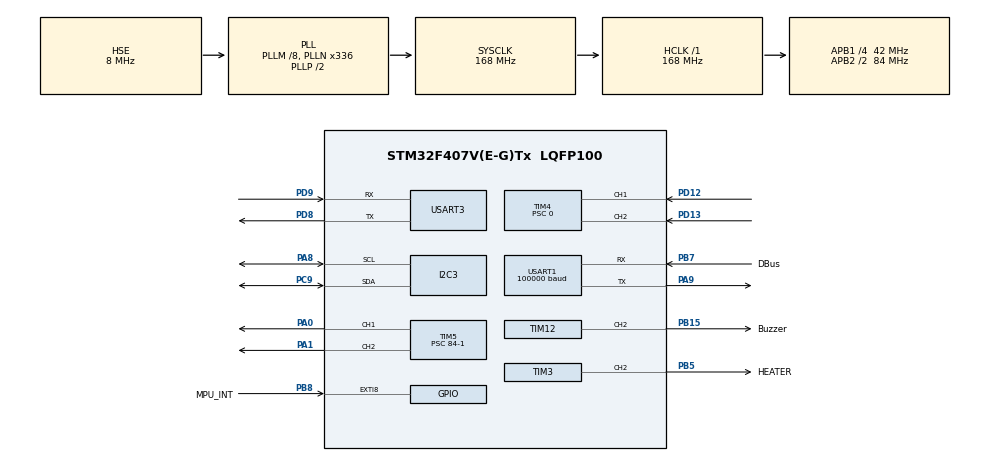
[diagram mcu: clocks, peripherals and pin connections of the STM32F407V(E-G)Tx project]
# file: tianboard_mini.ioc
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Mcu.Family=STM32F4
NVIC.USART3_IRQn=true\:5\:0\:false\:false\:true\:true\:true\:true
VP_TIM5_VS_ClockSourceINT.Mode=Internal
PH0-OSC_IN.Signal=RCC_OSC_IN
VP_SYS_VS_tim6.Mode=TIM6
Dma.USART3_RX.0.PeriphInc=DMA_PINC_DISABLE
RCC.CortexFreq_Value=168000000
NVIC.TIM6_DAC_IRQn=true\:0\:0\:false\:false\:true\:false\:false\:true
USART1.BaudRate=100000
TIM12.Channel-PWM\ Generation2\ CH2=TIM_CHANNEL_2
Dma.USART3_TX.1.MemInc=DMA_MINC_ENABLE
USART1.WordLength=WORDLENGTH_9B
Dma.USART1_RX.2.Instance=DMA2_Stream2
TIM4.EncoderMode=TIM_ENCODERMODE_TI12
Dma.USART3_TX.1.PeriphDataAlignment=DMA_PDATAALIGN_BYTE
SH.S_TIM5_CH2.0=TIM5_CH2,PWM Generation2 CH2
Dma.USART3_TX.1.Instance=DMA1_Stream3
PB15.Signal=S_TIM12_CH2
PD9.Mode=Asynchronous
RCC.SYSCLKSource=RCC_SYSCLKSOURCE_PLLCLK
ProjectManager.StackSize=0x1000
PD13.Signal=S_TIM4_CH2
PB8.GPIO_ModeDefaultEXTI=GPIO_MODE_IT_FALLING
RCC.HCLKFreq_Value=168000000
RCC.APB2TimFreq_Value=168000000
PD8.Signal=USART3_TX
RCC.AHBFreq_Value=168000000
PH0-OSC_IN.Mode=HSE-External-Oscillator
RCC.HSE_VALUE=8000000
Dma.USART3_RX.0.MemDataAlignment=DMA_MDATAALIGN_BYTE
Dma.USART3_TX.1.Mode=DMA_NORMAL
TIM12.Period=50000-1
PA14.Mode=Serial_Wire
Dma.USART3_RX.0.PeriphDataAlignment=DMA_PDATAALIGN_BYTE
PC9.Mode=I2C
SH.S_TIM4_CH2.0=TIM4_CH2,Encoder_Interface
PB7.Signal=USART1_RX
Dma.USART3_RX.0.FIFOMode=DMA_FIFOMODE_DISABLE
PA8.Signal=I2C3_SCL
TIM4.Period=65535
VP_FREERTOS_VS_CMSIS_V1.Mode=CMSIS_V1
FREERTOS.configTOTAL_HEAP_SIZE=65535
Dma.USART3_TX.1.FIFOMode=DMA_FIFOMODE_DISABLE
Dma.USART3_TX.1.Priority=DMA_PRIORITY_LOW
PB7.GPIO_Label=DBus
PH1-OSC_OUT.Mode=HSE-External-Oscillator
Dma.USART3_RX.0.Direction=DMA_PERIPH_TO_MEMORY
Mcu.Package=LQFP100
NVIC.TimeBase=TIM6_DAC_IRQn
PD12.Signal=S_TIM4_CH1
TIM4.IC1Polarity=TIM_ICPOLARITY_FALLING
NVIC.TimeBaseIP=TIM6
Dma.USART3_RX.0.MemInc=DMA_MINC_ENABLE
SH.S_TIM12_CH2.0=TIM12_CH2,PWM Generation2 CH2
RCC.APB2CLKDivider=RCC_HCLK_DIV2
NVIC.DMA2_Stream2_IRQn=true\:5\:0\:false\:false\:true\:true\:false\:true
PB5.GPIO_Label=HEATER
SH.S_TIM4_CH1.0=TIM4_CH1,Encoder_Interface
Dma.Request2=USART1_RX
Dma.Request1=USART3_TX
RCC.APB1TimFreq_Value=84000000
SH.S_TIM5_CH1.0=TIM5_CH1,PWM Generation1 CH1
Dma.USART3_TX.1.PeriphInc=DMA_PINC_DISABLE
NVIC.USART1_IRQn=true\:5\:0\:false\:false\:true\:true\:true\:true
Dma.Request0=USART3_RX
Dma.USART1_RX.2.MemDataAlignment=DMA_MDATAALIGN_BYTE
Dma.USART3_RX.0.Instance=DMA1_Stream1
RCC.PLLSourceVirtual=RCC_PLLSOURCE_HSE
I2C3.I2C_Mode=I2C_Standard
Dma.USART3_TX.1.MemDataAlignment=DMA_MDATAALIGN_BYTE
FREERTOS.Tasks01=defaultTask,0,128,StartDefaultTask,Default,NULL,Dynamic,NULL,NULL
PB8.GPIO_PuPd=GPIO_PULLUP
PD9.Signal=USART3_RX
NVIC.DMA1_Stream1_IRQn=true\:5\:0\:false\:false\:true\:true\:false\:true
RCC.APB1CLKDivider=RCC_HCLK_DIV4
Dma.USART1_RX.2.PeriphInc=DMA_PINC_DISABLE
Dma.USART3_RX.0.Mode=DMA_NORMAL
PA0-WKUP.Signal=S_TIM5_CH1
PA13.Signal=SYS_JTMS-SWDIO
PB8.GPIO_Label=MPU_INT
PA9.Mode=Asynchronous
ProjectManager.TargetToolchain=Makefile
Dma.USART1_RX.2.Mode=DMA_NORMAL
Dma.USART1_RX.2.PeriphDataAlignment=DMA_PDATAALIGN_BYTE
PA9.Signal=USART1_TX
USART1.Parity=PARITY_EVEN
TIM4.Prescaler=0
RCC.LSE_VALUE=32768
PD8.Mode=Asynchronous
PA1.Signal=S_TIM5_CH2
TIM4.IC2Polarity=TIM_ICPOLARITY_RISING
TIM12.Prescaler=84-1
SH.S_TIM3_CH2.0=TIM3_CH2,PWM Generation2 CH2
board=custom
Dma.USART1_RX.2.FIFOMode=DMA_FIFOMODE_DISABLE
RCC.VCOOutputFreq_Value=336000000
Dma.USART1_RX.2.Priority=DMA_PRIORITY_LOW
RCC.APB2Freq_Value=84000000
Dma.USART1_RX.2.Direction=DMA_PERIPH_TO_MEMORY
PB15.GPIO_Label=Buzzer
PH1-OSC_OUT.Signal=RCC_OSC_OUT
PA13.Mode=Serial_Wire
Mcu.Name=STM32F407V(E-G)Tx
Dma.USART1_RX.2.MemInc=DMA_MINC_ENABLE
RCC.48MHZClocksFreq_Value=84000000
TIM5.Channel-PWM\ Generation2\ CH2=TIM_CHANNEL_2
RCC.SYSCLKFreq_VALUE=168000000
PB5.Signal=S_TIM3_CH2
Dma.USART3_RX.0.Priority=DMA_PRIORITY_LOW
TIM5.Prescaler=84-1
USART3.VirtualMode=VM_ASYNC
USART1.VirtualMode=VM_ASYNC
PB7.Mode=Asynchronous
NVIC.EXTI9_5_IRQn=true\:5\:0\:false\:false\:true\:true\:true\:true
TIM5.Channel-PWM\ Generation1\ CH1=TIM_CHANNEL_1
PA14.Signal=SYS_JTCK-SWCLK
ProjectManager.HeapSize=0x1000
RCC.HSI_VALUE=16000000
NVIC.PriorityGroup=NVIC_PRIORITYGROUP_4
Dma.USART3_TX.1.Direction=DMA_MEMORY_TO_PERIPH
TIM3.Channel-PWM\ Generation2\ CH2=TIM_CHANNEL_2
RCC.PLLM=8
RCC.PLLN=336
PB8.Signal=GPXTI8
NVIC.DMA1_Stream3_IRQn=true\:5\:0\:false\:false\:true\:true\:false\:true
TIM5.Period=10000-1
PA8.Mode=I2C
PC9.Signal=I2C3_SDA
RCC.APB1Freq_Value=42000000

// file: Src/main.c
/* USER CODE BEGIN Header */
/**
  ******************************************************************************
  * @file           : main.c
  * @brief          : Main program body
  ******************************************************************************
  * @attention
  *
  * <h2><center>&copy; Copyright (c) 2020 STMicroelectronics.
  * All rights reserved.</center></h2>
  *
  * This software component is licensed by ST under Ultimate Liberty license
  * SLA0044, the "License"; You may not use this file except in compliance with
  * the License. You may obtain a copy of the License at:
  *                             www.st.com/SLA0044
  *
  ******************************************************************************
  */
/* USER CODE END Header */

#include "main.h"
#include "cmsis_os.h"
#include "dma.h"
#include "i2c.h"
#include "tim.h"
#include "usart.h"
#include "gpio.h"

/* USER CODE BEGIN Includes */
#include "beep.h"
#include "param.h"
/* USER CODE END Includes */

void SystemClock_Config(void);
void MX_FREERTOS_Init(void);

int main(void)
{

  /* MCU Configuration--------------------------------------------------------*/

  /* Reset of all peripherals, Initializes the Flash interface and the Systick. */
  HAL_Init();

  /* Configure the system clock */
  SystemClock_Config();

  /* Initialize all configured peripherals */
  MX_GPIO_Init();
  MX_DMA_Init();
  MX_I2C3_Init();
  MX_TIM3_Init();
  MX_TIM4_Init();
  MX_TIM5_Init();
  MX_TIM12_Init();
  MX_USART1_UART_Init();
  MX_USART3_UART_Init();
  /* USER CODE BEGIN 2 */
  BeepInit();
  BeepOn(3);
  HAL_Delay(200);
  BeepOff();
  InitParam();
  /* USER CODE END 2 */

  /* Call init function for freertos objects (in freertos.c) */
  MX_FREERTOS_Init();
  /* Start scheduler */
  osKernelStart();

  /* We should never get here as control is now taken by the scheduler */
  /* Infinite loop */
  while (1)
  {

  }
}

void SystemClock_Config(void)
{
  RCC_OscInitTypeDef RCC_OscInitStruct = {0};
  RCC_ClkInitTypeDef RCC_ClkInitStruct = {0};

  /** Configure the main internal regulator output voltage
  */
  __HAL_RCC_PWR_CLK_ENABLE();
  __HAL_PWR_VOLTAGESCALING_CONFIG(PWR_REGULATOR_VOLTAGE_SCALE1);
  /** Initializes the CPU, AHB and APB busses clocks
  */
  RCC_OscInitStruct.OscillatorType = RCC_OSCILLATORTYPE_HSE;
  RCC_OscInitStruct.HSEState = RCC_HSE_ON;
  RCC_OscInitStruct.PLL.PLLState = RCC_PLL_ON;
  RCC_OscInitStruct.PLL.PLLSource = RCC_PLLSOURCE_HSE;
  RCC_OscInitStruct.PLL.PLLM = 8;
  RCC_OscInitStruct.PLL.PLLN = 336;
  RCC_OscInitStruct.PLL.PLLP = RCC_PLLP_DIV2;
  RCC_OscInitStruct.PLL.PLLQ = 4;
  if (HAL_RCC_OscConfig(&RCC_OscInitStruct) != HAL_OK)
  {
    Error_Handler();
  }
  /** Initializes the CPU, AHB and APB busses clocks
  */
  RCC_ClkInitStruct.ClockType = RCC_CLOCKTYPE_HCLK|RCC_CLOCKTYPE_SYSCLK
                              |RCC_CLOCKTYPE_PCLK1|RCC_CLOCKTYPE_PCLK2;
  RCC_ClkInitStruct.SYSCLKSource = RCC_SYSCLKSOURCE_PLLCLK;
  RCC_ClkInitStruct.AHBCLKDivider = RCC_SYSCLK_DIV1;
  RCC_ClkInitStruct.APB1CLKDivider = RCC_HCLK_DIV4;
  RCC_ClkInitStruct.APB2CLKDivider = RCC_HCLK_DIV2;

  if (HAL_RCC_ClockConfig(&RCC_ClkInitStruct, FLASH_LATENCY_5) != HAL_OK)
  {
    Error_Handler();
  }
}

 /**
  * @brief  Period elapsed callback in non blocking mode
  * @note   This function is called  when TIM6 interrupt took place, inside
  * HAL_TIM_IRQHandler(). It makes a direct call to HAL_IncTick() to increment
  * a global variable "uwTick" used as application time base.
  * @param  htim : TIM handle
  * @retval None
  */
void HAL_TIM_PeriodElapsedCallback(TIM_HandleTypeDef *htim)
{
  if (htim->Instance == TIM6) {
    HAL_IncTick();
  }
}

void Error_Handler(void)
{
}

/************************ (C) COPYRIGHT STMicroelectronics *****END OF FILE****/

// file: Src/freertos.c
/* USER CODE BEGIN Header */
/**
  ******************************************************************************
  * File Name          : freertos.c
  * Description        : Code for freertos applications
  ******************************************************************************
  * @attention
  *
  * <h2><center>&copy; Copyright (c) 2020 STMicroelectronics.
  * All rights reserved.</center></h2>
  *
  * This software component is licensed by ST under Ultimate Liberty license
  * SLA0044, the "License"; You may not use this file except in compliance with
  * the License. You may obtain a copy of the License at:
  *                             www.st.com/SLA0044
  *
  ******************************************************************************
  */
/* USER CODE END Header */

#include "FreeRTOS.h"
#include "task.h"
#include "main.h"
#include "cmsis_os.h"

/* USER CODE BEGIN Includes */
#include "param.h"
#include "dbus_task.h"
#include "racecar_task.h"
#include "protocol_task.h"
#include "imu_task.h"
#include "beep_task.h"
/* USER CODE END Includes */

osThreadId defaultTaskHandle;

void StartDefaultTask(void const * argument);

void MX_FREERTOS_Init(void); /* (MISRA C 2004 rule 8.1) */

/* GetIdleTaskMemory prototype (linked to static allocation support) */
void vApplicationGetIdleTaskMemory( StaticTask_t **ppxIdleTaskTCBBuffer, StackType_t **ppxIdleTaskStackBuffer, uint32_t *pulIdleTaskStackSize );

/* USER CODE BEGIN GET_IDLE_TASK_MEMORY */
static StaticTask_t xIdleTaskTCBBuffer;
static StackType_t xIdleStack[configMINIMAL_STACK_SIZE];

void vApplicationGetIdleTaskMemory( StaticTask_t **ppxIdleTaskTCBBuffer, StackType_t **ppxIdleTaskStackBuffer, uint32_t *pulIdleTaskStackSize )
{
  *ppxIdleTaskTCBBuffer = &xIdleTaskTCBBuffer;
  *ppxIdleTaskStackBuffer = &xIdleStack[0];
  *pulIdleTaskStackSize = configMINIMAL_STACK_SIZE;
  /* place for user code */
}
/* USER CODE END GET_IDLE_TASK_MEMORY */

void MX_FREERTOS_Init(void) {
  /* USER CODE BEGIN Init */
  BeepTaskInit();
  ImuTaskInit();
  DbusTaskInit();
  ProtocolTaskInit();
  RacecarTaskInit();
  /* USER CODE END Init */

  /* Create the thread(s) */
  /* definition and creation of defaultTask */
  osThreadDef(defaultTask, StartDefaultTask, osPriorityNormal, 0, 128);
  defaultTaskHandle = osThreadCreate(osThread(defaultTask), NULL);

}

void StartDefaultTask(void const * argument)
{
  /* USER CODE BEGIN StartDefaultTask */
  /* Infinite loop */
  for(;;)
  {
    osDelay(500);
  }
  /* USER CODE END StartDefaultTask */
}

/************************ (C) COPYRIGHT STMicroelectronics *****END OF FILE****/
